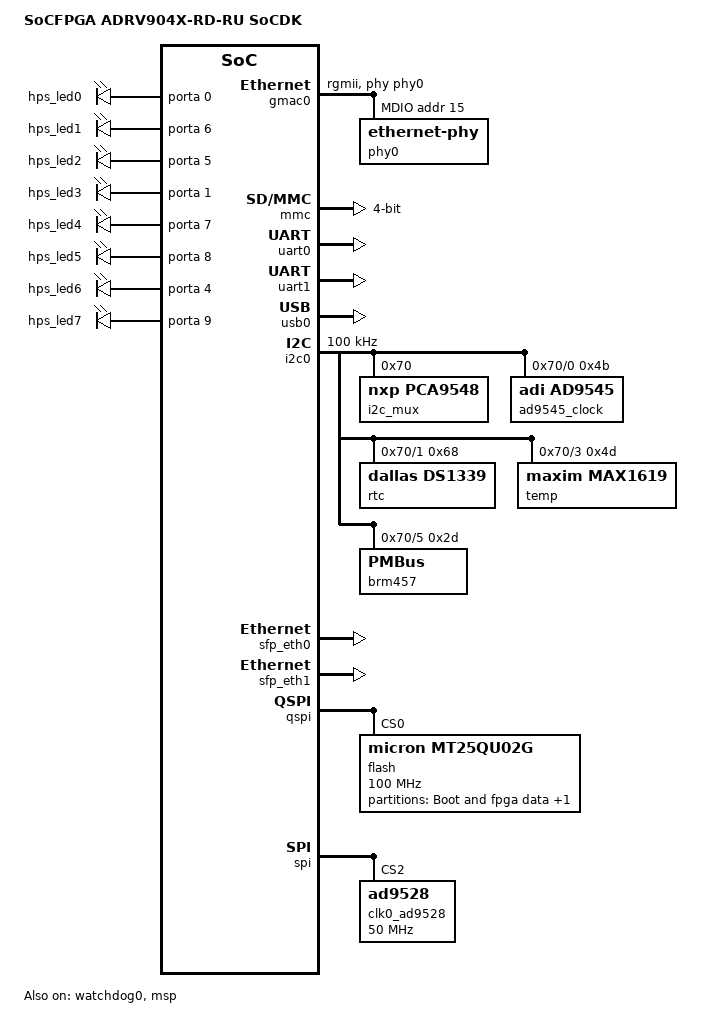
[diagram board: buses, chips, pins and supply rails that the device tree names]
// SPDX-License-Identifier:     GPL-2.0
/*
 * Copyright (C) 2019, Intel Corporation
 */
#include "socfpga_adrv904x-rd-ru.dtsi"

/ {
	model = "SoCFPGA ADRV904X-RD-RU SoCDK";

	aliases {
		serial0 = &uart1;/*HPS UART1 is used as ADRV904X-RD-RU main UART @ttyS0*/
		serial1 = &uart0;/*HPS UART0 is used for debugging connection to Koror UART @ttyS1*/
		ethernet0 = &gmac0;
	};

	chosen {
		stdout-path = "serial0:115200n8";
	};

	leds {
		compatible = "gpio-leds";
		hps0 {
			label = "hps_led0";
			gpios = <&porta 0 GPIO_ACTIVE_HIGH>;
		};

		hps1 {
			label = "hps_led1";
			gpios = <&porta 6 GPIO_ACTIVE_HIGH>;
		};

		hps2 {
			label = "hps_led2";
			gpios = <&porta 5 GPIO_ACTIVE_HIGH>;
		};
		
		hps3 {
			label = "hps_led3";
			gpios = <&porta 1 GPIO_ACTIVE_HIGH>;
		};

		hps4 {
			label = "hps_led4";
			gpios = <&porta 7 GPIO_ACTIVE_HIGH>;
		};

		hps5 {
			label = "hps_led5";
			gpios = <&porta 8 GPIO_ACTIVE_HIGH>;
		};
		
		hps6 {
			label = "hps_led6";
			gpios = <&porta 4 GPIO_ACTIVE_HIGH>;
		};

		hps7 {
			label = "hps_led7";
			gpios = <&porta 9 GPIO_ACTIVE_HIGH>;
		};

	};

	memory {
		device_type = "memory";
		/* We expect the bootloader to fill in the reg */
		reg = <0 0 0 0>;
	};
};

&gpio0 {
	status = "okay";
};

&gpio1 {
	status = "okay";
};

&gmac0 {
	status = "okay";
	phy-mode = "rgmii";
	phy-handle = <&phy0>;

	max-frame-size = <9000>;

	mdio0 {
		#address-cells = <1>;
		#size-cells = <0>;
		compatible = "snps,dwmac-mdio";
		phy0: ethernet-phy@0 {
			reg = <15>;

			/*txd0-skew-ps = <420>;*/ /* 0ps */
			/*txd1-skew-ps = <420>;*/ /* 0ps */
			/*txd2-skew-ps = <420>;*/ /* 0ps */
			/*txd3-skew-ps = <420>;*/ /* 0ps */
			/*rxd0-skew-ps = <420>;*/ /* 0ps */
			/*rxd1-skew-ps = <420>;*/ /* 0ps */
			/*rxd2-skew-ps = <420>;*/ /* 0ps */
			/*rxd3-skew-ps = <420>;*/ /* 0ps */
			/*txen-skew-ps = <420>;*/ /* 0ps */
			/*txc-skew-ps  = <900>;*/ /* 0ps */
			/*rxdv-skew-ps = <420>;*/ /* 0ps */
			/*rxc-skew-ps  = <900>;*/ /* 0ps */

		};
	};
};

&mmc {
	status = "okay";
	cap-sd-highspeed;
	broken-cd;
	bus-width = <4>;
};

&osc1 {
	clock-frequency = <25000000>;
};

&sysclk{
	clock-frequency = <245760000>;
};

&s_axi_clk{
	clock-frequency = <100000000>;
};

&ref_a {
	clock-frequency = <125000000>;
};

&ref_aa {
	clock-frequency = <390625000>;
};

&ref_b {
	clock-frequency = <1>;
};

&ref_bb {
	clock-frequency = <10000000>;
};

&uart0 {
	status = "okay";
};

&uart1 {
	status = "okay";
};

&usb0 {
	status = "okay";
	disable-over-current;
};

&watchdog0 {
	status = "okay";
};

&i2c0 {
	status = "okay";
	clock-frequency = <100000>;
	/* i2c-sda-falling-time-ns = <890>; */  /* hcnt */
	/* i2c-sdl-falling-time-ns = <890>; */  /* lcnt */

	

	i2c_mux:i2cswitch@70 {
		compatible = "nxp,pca9548";
		#address-cells = <1>;
		#size-cells = <0>;
		reg = <0x70>;
		
		/*
		interrupt-parent = <&ipic>;
		interrupts = <17 IRQ_TYPE_LEVEL_LOW>;
		interrupt-controller;
		#interrupt-cells = <2>;
		*/

		i2c@0 {
			#address-cells = <1>;
			#size-cells = <0>;
			reg = <0>;

			ad9545_clock: ad9545@4b {
				compatible = "adi,ad9545";
				reg = <0x4b>;

				#address-cells = <1>;
				#size-cells = <0>;
				#clock-cells = <2>;

				clocks = <&ref_a>, <&ref_aa>, <&ref_b>, <&ref_bb>;
				clock-names = "Ref-A", "Ref-AA", "Ref-B", "Ref-BB";

				adi,auto-init;
			};
		};

		i2c@1 {
			#address-cells = <1>;
			#size-cells = <0>;
			reg = <1>;

			rtc@68 {
				compatible = "dallas,ds1339";
				reg = <0x68>;
			};
		};

		i2c02: i2c@2 {
			#address-cells = <1>;
			#size-cells = <0>;
			reg = <2>;
		};

		i2c@3 {
			#address-cells = <1>;
			#size-cells = <0>;
			reg = <3>;

			temp@4d {/*max6581*/
				compatible = "maxim,max1619";
				reg = <0x4d>;
			};

		};
		
		i2c@5 {
			#address-cells = <1>;
			#size-cells = <0>;
			reg = <5>;

			brm457@2d {/* power module */
				compatible = "PMBus";
				reg = <0x2d>;
			};

		};

	 };
};

&ptpclk {
	clocks = <&ad9545_clock AD9545_CLK_OUT AD9545_Q0B>,
		 <&ad9545_clock AD9545_CLK_NCO AD9545_NCO0>;
	clock-names = "sys_clk", "tuning_clk";
	status = "okay";
};

&sfp_eth0 {
	i2c-bus = <&i2c02>;
	status = "okay";
};

&sfp_eth1 {
	i2c-bus = <&i2c02>;
	status = "okay";
};

&msp {
	status = "okay";
	adi,ptp-clk = <&ptpclk>;
};

&qspi {
	status = "okay";
	flash@0 {
		#address-cells = <1>;
		#size-cells = <1>;
		compatible = "micron,mt25qu02g", "jedec,spi-nor";
		reg = <0>;
		spi-max-frequency = <100000000>;

		m25p,fast-read;
		cdns,page-size = <256>;
		cdns,block-size = <16>;
		cdns,read-delay = <2>;
		cdns,tshsl-ns = <50>;
		cdns,tsd2d-ns = <50>;
		cdns,tchsh-ns = <4>;
		cdns,tslch-ns = <4>;

		partitions {
			compatible = "fixed-partitions";
			#address-cells = <1>;
			#size-cells = <1>;

			qspi_boot: partition@0 {
				label = "Boot and fpga data";
				reg = <0x0 0x03FE0000>;
			};

			qspi_rootfs: partition@3FE0000 {
				label = "Root Filesystem - JFFS2";
				reg = <0x03FE0000 0x0C020000>;
			};
		};
	};
};

&temp_volt {
	voltage {
		#address-cells = <1>;
		#size-cells = <0>;
		input@2 {
			label = "0.8V VCC";
			reg = <2>;
		};

		input@3 {
			label = "1.8V VCCIO_SDM";
			reg = <3>;
		};

		input@4 {
			label = "1.8V VCCPT";
			reg = <4>;
		};

		input@5 {
			label = "1.2V VCCCRCORE";
			reg = <5>;
		};

		input@6 {
			label = "0.9V VCCH";
			reg = <6>;
		};

		input@7 {
			label = "0.8V VCCL";
			reg = <7>;
		};
	};

	temperature {
		#address-cells = <1>;
		#size-cells = <0>;

		input@0 {
			label = "Main Die SDM";
			reg = <0x0>;
		};

		input@10000 {
			label = "Main Die corner bottom left max";
			reg = <0x10000>;
		};

		input@20000 {
			label = "Main Die corner top left max";
			reg = <0x20000>;
		};

		input@30000 {
			label = "Main Die corner bottom right max";
			reg = <0x30000>;
		};

		input@40000 {
			label = "Main Die corner top right max";
			reg = <0x40000>;
		};
	};
};

#include <dt-bindings/iio/frequency/ad9528.h>

&spi {
	status = "okay";
	/* GNSS  @5 */
	/* RFFE1 @4 */
	/* RFFE0 @3 */
	/* TRX   @1 */
	/* AD9576@0 */
	clk0_ad9528: ad9528@2 {
		#address-cells = <1>;
		#size-cells = <0>;
		#clock-cells = <1>;
		compatible = "ad9528";

		//spi-cpol;
		//spi-cpha;
		spi-max-frequency = <50000000>;
		//adi,spi-3wire-enable;
		reg = <2>;

		clock-output-names = "TRX_SYS_REF", "TRX_DEV_CLK", "ad9528_out2_unused", "SMA_RFFE0_DEV_CLK", "ad9528_out4_unused", "SMA_RFFE1_DEV_CLK", "ad9528_out6_unused", "ad9528_out7_unused", "ad9528_out8_unused", "ad9528_out9", "FPGA_FABRIC_DEV_CLK", "ad9528_out11_unused", "FPGA_SYS_REF", "FPGA_DEV_CLK";

		adi,vcxo-freq = <245760000>;

		/* PLL1 config */
		adi,ref-mode = <REF_MODE_SELECT_REFA>;
		adi,refa-r-div = <1>;
		adi,refb-r-div = <1>;
		adi,pll1-feedback-div = <0>;
		adi,osc-in-diff-enable;
		adi,pll1-charge-pump-current-nA = <5000>;

		/* PLL2 config */

		/*
		 * Valid ranges based on VCO locking range:
		 *   1150.000 MHz - 1341.666 MHz
		 *    862.500 MHz - 1006.250 MHz
		 *    690.000 MHz -  805.000 MHz
		 */

		adi,pll2-charge-pump-current-nA = <805000>;

		/* AD9528_ADDR_PLL2_N_DIV: PLL2 A and B divider */
		/* adi,pll2-n2-div = <4>; */

		/* AD9528_ADDR_PLL2_CTRL, 0x03U */

		/* AD9528_ADDR_PLL2_VCO_DIV, init->pll2Settings.rfDivider */
		/* adi,pll2-vco-div-m1 = <4>; */

		/* AD9528_ADDR_PLL2_LF_CTRL1, 0x2AU */

		/* AD9528_ADDR_PLL2_LF_CTRL2, 0x00U */

		/* AD9528_ADDR_PLL2_REPLICA_CHDIV, init->pll2Settings.n2Divider - 1U */

		/* AD9528_ADDR_PLL2_REPLICA_DIV_PHASE, 0x00U */

		/* AD9528_ADDR_PLL2_RDIV, init->pll2Settings.r1Divider */
		/* adi,pll2-r1-div = <1>; */

		/* AD9528_ADDR_PLL2_VCO_CTRL, 0x11U (r1Divider > 1) 0x01U (r1Divider <= 1) */

		adi,pll2-m1-frequency = <983040000>;

		/* SYSREF config */
		adi,sysref-src = <SYSREF_SRC_INTERNAL>;
		adi,sysref-pattern-mode = <SYSREF_PATTERN_CONTINUOUS>;
		adi,sysref-k-div = <8192>;
		adi,sysref-nshot-mode = <SYSREF_NSHOT_4_PULSES>;
		adi,sysref-request-trigger-mode = <SYSREF_LEVEL_HIGH>;

		adi,rpole2 = <RPOLE2_900_OHM>;
		adi,rzero = <RZERO_2500_OHM>;
		adi,cpole1 = <CPOLE1_16_PF>;

		/* 0 TRX_SYS_REF		120000
		   1 TRX_DEV_CLK		491520000
		   3 SMA_RFFE0_DEV_CLK		491520000
		   5 SMA_RFFE1_DEV_CLK		491520000
		  10 FPGA_FABRIC_DEV_CLK	245760000
		  12 FPGA_SYS_REF		120000
		  13 FPGA_DEV_CLK		245760000 */

		ad9528_2_c0: channel@0 {
			reg = <0>;
			adi,extended-name = "TRX_SYS_REF";
			adi,driver-mode = <DRIVER_MODE_LVDS>;
			adi,divider-phase = <2>;
			adi,channel-divider = <0>;
			adi,signal-source = <SOURCE_SYSREF_VCO>;
		};

		ad9528_2_c1: channel@1 {
			reg = <1>;
			adi,extended-name = "TRX_DEV_CLK";
			adi,driver-mode = <DRIVER_MODE_HSTL>;
			adi,divider-phase = <0>;
			adi,channel-divider = <2>;
			adi,signal-source = <SOURCE_VCO>;
		};

		ad9528_2_c3: channel@3 {
			reg = <3>;
			adi,extended-name = "SMA_RFFE0_DEV_CLK";
			adi,driver-mode = <DRIVER_MODE_HSTL>;
			adi,divider-phase = <0>;
			adi,channel-divider = <2>;
			adi,signal-source = <SOURCE_VCO>;
		};

		ad9528_2_c5: channel@5 {
			reg = <5>;
			adi,extended-name = "SMA_RFFE1_DEV_CLK";
			adi,driver-mode = <DRIVER_MODE_HSTL>;
			adi,divider-phase = <0>;
			adi,channel-divider = <2>;
			adi,signal-source = <SOURCE_VCO>;
		};

		ad9528_2_c10: channel@10 {
			reg = <10>;
			adi,extended-name = "FPGA_FABRIC_DEV_CLK";
			adi,driver-mode = <DRIVER_MODE_LVDS>;
			adi,divider-phase = <0>;
			adi,channel-divider = <4>;
			adi,signal-source = <SOURCE_VCO>;
		};

		ad9528_2_c12: channel@12 {
			reg = <12>;
			adi,extended-name = "FPGA_SYS_REF";
			adi,driver-mode = <DRIVER_MODE_HSTL>;
			adi,divider-phase = <2>;
			adi,channel-divider = <0>;
			adi,signal-source = <SOURCE_SYSREF_VCO>;
		};

		ad9528_2_c13: channel@13 {
			reg = <13>;
			adi,extended-name = "FPGA_DEV_CLK";
			adi,driver-mode = <DRIVER_MODE_HSTL>;
			adi,divider-phase = <0>;
			adi,channel-divider = <4>;
			adi,signal-source = <SOURCE_VCO>;
		};
	};
};
